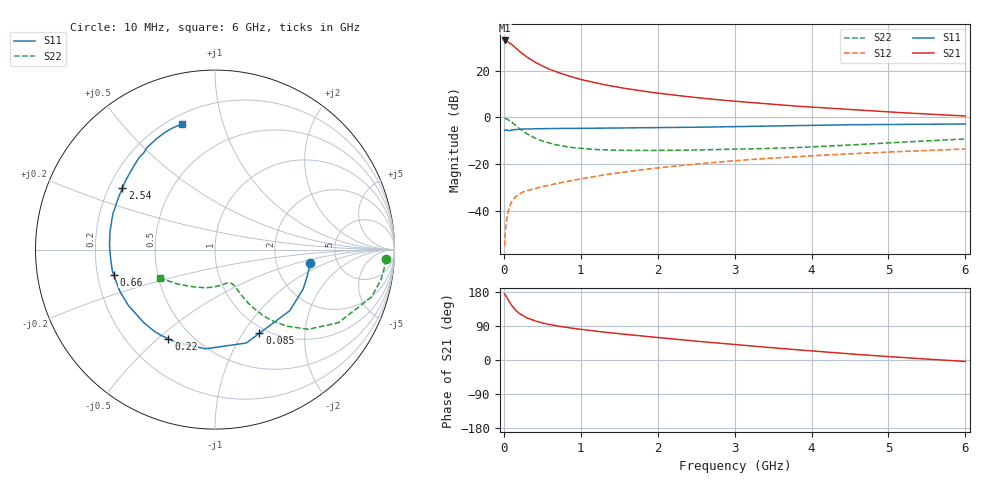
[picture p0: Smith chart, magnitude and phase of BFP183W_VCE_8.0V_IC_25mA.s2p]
! Infineon Technologies  Discrete & RF Semiconductors
! BFP183W
! VCE = 8.0 V,  IC =  25 mA
! Common Emitter S-Parameters:  Jan 2016
# GHz  S  MA  R  50
!  f  S11  S21  S12  S22
! GHz  MAG  ANG  MAG  ANG  MAG  ANG  MAG  ANG
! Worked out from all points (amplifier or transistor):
!   210 points, 10 MHz to 6 GHz, reference 50 ohm
!   highest |S21| = 32.8 dB at 10 MHz (marker M1)
!   |S21| within 3 dB of that: start of sweep to 149.2 MHz
!   unconditionally stable (mu >= 1): 938.2 MHz to 5.401 GHz
!   at 185 MHz: K = 0.36, MSG = 30.9 dB, |S12| = -33.1 dB
!   at 1.52 GHz: K = 1.11, MAG = 16.1 dB, |S12| = -23.5 dB
!   at 6 GHz: K = 0.98, MSG = 7.0 dB, |S12| = -13.4 dB
!   S11 on the Smith chart (normalised r, x): 10 MHz: 3.17, -0.65; 85 MHz: 0.92, -1.19; 220 MHz: 0.37, -0.54; 660 MHz: 0.27, -0.11; 2.54 GHz: 0.25, +0.28; 6 GHz: 0.25, +0.74
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0.01  0.5364 -7.8  43.85 174.4  0.0018 81.7  0.9559 -3.2
0.03  0.5381 -24.1  43.18 167.8  0.0056 79.2  0.94 -10.3
0.05  0.538 -39.2  41.58 160.2  0.0091 73.7  0.9104 -16.9
0.085  0.5277 -62.1  37.65 149.6  0.0137 65.8  0.8275 -26.1
0.1  0.5488 -71.5  36.42 144.4  0.0157 63.8  0.7994 -30.6
0.15  0.5551 -95.4  30.97 131.8  0.0202 55.3  0.6836 -40.5
0.2  0.5611 -112.7  26.14 122.9  0.0231 50.7  0.5844 -46.9
0.22  0.5608 -117.6  24.63 120.5  0.0242 49.5  0.5536 -48.5
0.26  0.5669 -126.8  21.84 115.4  0.0261 47.9  0.4962 -51.8
0.3  0.5684 -134.3  19.42 111.0  0.0274 47.3  0.448 -54.2
0.4  0.5745 -147.3  15.29 103.3  0.0303 47.0  0.366 -57.7
0.5  0.5786 -156.4  12.53 97.7  0.0335 48.0  0.3143 -59.3
0.66  0.582 -166.2  9.726 91.3  0.0382 50.0  0.2664 -60.5
0.8  0.5838 -173.0  8.041 86.4  0.0426 52.0  0.2401 -61.4
1.02  0.5866 179.6  6.361 80.5  0.0494 54.0  0.2178 -62.9
1.4  0.5944 169.4  4.678 71.5  0.0626 56.1  0.2018 -66.5
2.02  0.6052 155.8  3.275 58.9  0.0846 55.9  0.1986 -75.4
2.54  0.6198 146.3  2.618 49.1  0.1031 54.0  0.2033 -84.8
3.1  0.6415 136.9  2.153 39.2  0.1228 51.0  0.2113 -96.5
4.1  0.6858 122.5  1.625 22.5  0.1554 44.8  0.2399 -120.2
5.1  0.7126 111.8  1.283 7.8  0.1858 38.4  0.2927 -140.6
6  0.7244 104.5  1.074 -3.9  0.2126 33.2  0.3472 -152.9
